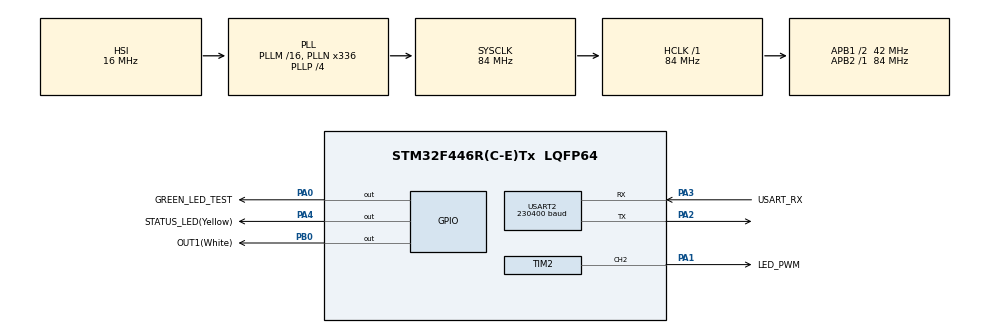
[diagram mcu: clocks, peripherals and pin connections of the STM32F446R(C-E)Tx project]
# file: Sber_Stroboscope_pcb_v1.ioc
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Mcu.Family=STM32F4
Mcu.Name=STM32F446R(C-E)Tx
Mcu.Package=LQFP64
NVIC.PriorityGroup=NVIC_PRIORITYGROUP_0
NVIC.USART2_IRQn=true\:0\:0\:false\:false\:true\:true\:true\:true
PA0-WKUP.GPIO_Label=GREEN_LED_TEST
PA0-WKUP.Signal=GPIO_Output
PA1.GPIO_Label=LED_PWM
PA1.Signal=S_TIM2_CH2
PA13.Mode=Serial_Wire
PA13.Signal=SYS_JTMS-SWDIO
PA14.Mode=Serial_Wire
PA14.Signal=SYS_JTCK-SWCLK
PA2.Mode=Asynchronous
PA2.Signal=USART2_TX
PA3.GPIO_Label=USART_RX
PA3.Mode=Asynchronous
PA3.Signal=USART2_RX
PA4.GPIO_Label=STATUS_LED(Yellow)
PA4.Signal=GPIO_Output
PB0.GPIO_Label=OUT1(White)
PB0.Signal=GPIO_Output
PC14-OSC32_IN.Mode=LSE-External-Oscillator
PC14-OSC32_IN.Signal=RCC_OSC32_IN
PC15-OSC32_OUT.Mode=LSE-External-Oscillator
PC15-OSC32_OUT.Signal=RCC_OSC32_OUT
PH0-OSC_IN.Mode=HSE-External-Oscillator
PH0-OSC_IN.Signal=RCC_OSC_IN
PH1-OSC_OUT.Mode=HSE-External-Oscillator
PH1-OSC_OUT.Signal=RCC_OSC_OUT
ProjectManager.HeapSize=0x200
ProjectManager.StackSize=0x400
ProjectManager.TargetToolchain=STM32CubeIDE
RCC.48MHZClocksFreq_Value=84000000
RCC.AHBFreq_Value=84000000
RCC.APB1CLKDivider=RCC_HCLK_DIV2
RCC.APB1Freq_Value=42000000
RCC.APB1TimFreq_Value=84000000
RCC.APB2Freq_Value=84000000
RCC.APB2TimFreq_Value=84000000
RCC.CortexFreq_Value=84000000
RCC.FLatency-AdvancedSettings=FLASH_LATENCY_2
RCC.HCLKFreq_Value=84000000
RCC.HSE_VALUE=8000000
RCC.HSI_VALUE=16000000
RCC.PLLN=336
RCC.PLLP=RCC_PLLP_DIV4
RCC.SYSCLKFreq_VALUE=84000000
RCC.SYSCLKSource=RCC_SYSCLKSOURCE_PLLCLK
RCC.USBFreq_Value=168000000
RCC.VCOOutputFreq_Value=336000000
SH.S_TIM2_CH2.0=TIM2_CH2,PWM Generation2 CH2
TIM2.Channel-PWM\ Generation2\ CH2=TIM_CHANNEL_2
TIM2.OCFastMode_PWM-PWM\ Generation2\ CH2=TIM_OCFAST_ENABLE
TIM2.Period=10
TIM2.Prescaler=8400
TIM2.Pulse-PWM\ Generation2\ CH2=1
USART2.BaudRate=230400
USART2.VirtualMode=VM_ASYNC
VP_TIM2_VS_ClockSourceINT.Mode=Internal
board=NUCLEO-F446RE

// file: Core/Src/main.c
/* USER CODE BEGIN Header */
/**
  ******************************************************************************
  * @file           : main.c
  * @brief          : Main program body
  ******************************************************************************
  * @attention
  *
  * Copyright (c) 2024 STMicroelectronics.
  * All rights reserved.
  *
  * This software is licensed under terms that can be found in the LICENSE file
  * in the root directory of this software component.
  * If no LICENSE file comes with this software, it is provided AS-IS.
  *
  ******************************************************************************
  */
/* USER CODE END Header */
#include "main.h"

/* USER CODE BEGIN Includes */

#include "io_interface.h"
#include "strob.h"

/* USER CODE END Includes */

TIM_HandleTypeDef htim2;

UART_HandleTypeDef huart2;

/* USER CODE BEGIN PV */

double pulse=100000/2;
double period=100000;

/* USER CODE END PV */

void SystemClock_Config(void);
static void MX_GPIO_Init(void);
static void MX_USART2_UART_Init(void);
static void MX_TIM2_Init(void);

int main(void)
{

  /* MCU Configuration--------------------------------------------------------*/

  /* Reset of all peripherals, Initializes the Flash interface and the Systick. */
  HAL_Init();

  /* Configure the system clock */
  SystemClock_Config();

  /* Initialize all configured peripherals */
  MX_GPIO_Init();
  MX_USART2_UART_Init();
  MX_TIM2_Init();
  /* USER CODE BEGIN 2 */

  time_init();
  //GREEN_LED_TEST_ON
  //STATUS_LED_YELLOW_ON
  //OUT_WHITE_ON

    uint8_t txData[20]={0};
    uint8_t vout=0;
    //uint16_t freq=0;
    uint8_t rxData[20]={0};

    while(1){
  	  //char command[50]={0};
  	  printf("------------------------------------\n");
  	  printf("Enter your command\n\n");
  	  printf("/out24V_on/ to on 24V Out\n");
  	  printf("/out24V_off/ to off 24V Out\n");
  	  printf("/frequency/ to change frequency\n");
  	  printf("/pulse/ to change duty cycle\n");
  	  printf("/status/ to get status\n");
  	  printf("/exit/ to cancel program\n");
  	  printf("------------------------------------\n\n");
  	  UART_Receive(rxData, sizeof(rxData));

  	  if(rxData[0]=='e' && rxData[1]=='x' && rxData[2]=='i' && rxData[3]=='t'){
  		  clear_rxData(rxData);
  		  break;
  	  }

  	  else if(rxData[0]=='o' && rxData[1]=='u' && rxData[2]=='t' && rxData[3]=='2' && rxData[4]=='4' && rxData[5]=='V' && rxData[6]=='_' && rxData[7]=='o' && rxData[8]=='n'){
  		  clear_rxData(rxData);
  		  out24V_on();
  		  vout=1;
  	  }

  	  else if(rxData[0]=='o' && rxData[1]=='u' && rxData[2]=='t' && rxData[3]=='2' && rxData[4]=='4' && rxData[5]=='V' && rxData[6]=='_' && rxData[7]=='o' && rxData[8]=='f' && rxData[9]=='f'){
  		  clear_rxData(rxData);
  		  out24V_off();
  		  vout=0;
  	  }

  	  else if(rxData[0]=='f' && rxData[1]=='r' && rxData[2]=='e' && rxData[3]=='q' && rxData[4]=='u' && rxData[5]=='e' && rxData[6]=='n' && rxData[7]=='c' && rxData[8]=='y'){
  		set_freq(&period, &pulse);
  		//pulse=period/2;
  		MX_TIM2_Init();
  	  }

  	  else if(rxData[0]=='p' && rxData[1]=='u' && rxData[2]=='l' && rxData[3]=='s' && rxData[4]=='e'){
  		set_duty_cycle(&pulse, &period);
  		//pulse=period/2;
  		MX_TIM2_Init();
  	  }

  	  else if(rxData[0]=='s' && rxData[1]=='t' && rxData[2]=='a' && rxData[3]=='t' && rxData[4]=='u' && rxData[5]=='s'){
  		status(&pulse, &period, &vout);
  	  }

  	  else{
  		  clear_rxData(rxData);
  		  printf("Wrong command\n");
  	  }

  	  printf("\n");
    }

  /* USER CODE END 2 */

  /* Infinite loop */
  while (1)
  {

  }
}

void SystemClock_Config(void)
{
  RCC_OscInitTypeDef RCC_OscInitStruct = {0};
  RCC_ClkInitTypeDef RCC_ClkInitStruct = {0};

  /** Configure the main internal regulator output voltage
  */
  __HAL_RCC_PWR_CLK_ENABLE();
  __HAL_PWR_VOLTAGESCALING_CONFIG(PWR_REGULATOR_VOLTAGE_SCALE3);

  /** Initializes the RCC Oscillators according to the specified parameters
  * in the RCC_OscInitTypeDef structure.
  */
  RCC_OscInitStruct.OscillatorType = RCC_OSCILLATORTYPE_HSI;
  RCC_OscInitStruct.HSIState = RCC_HSI_ON;
  RCC_OscInitStruct.HSICalibrationValue = RCC_HSICALIBRATION_DEFAULT;
  RCC_OscInitStruct.PLL.PLLState = RCC_PLL_ON;
  RCC_OscInitStruct.PLL.PLLSource = RCC_PLLSOURCE_HSI;
  RCC_OscInitStruct.PLL.PLLM = 16;
  RCC_OscInitStruct.PLL.PLLN = 336;
  RCC_OscInitStruct.PLL.PLLP = RCC_PLLP_DIV4;
  RCC_OscInitStruct.PLL.PLLQ = 2;
  RCC_OscInitStruct.PLL.PLLR = 2;
  if (HAL_RCC_OscConfig(&RCC_OscInitStruct) != HAL_OK)
  {
    Error_Handler();
  }

  /** Initializes the CPU, AHB and APB buses clocks
  */
  RCC_ClkInitStruct.ClockType = RCC_CLOCKTYPE_HCLK|RCC_CLOCKTYPE_SYSCLK
                              |RCC_CLOCKTYPE_PCLK1|RCC_CLOCKTYPE_PCLK2;
  RCC_ClkInitStruct.SYSCLKSource = RCC_SYSCLKSOURCE_PLLCLK;
  RCC_ClkInitStruct.AHBCLKDivider = RCC_SYSCLK_DIV1;
  RCC_ClkInitStruct.APB1CLKDivider = RCC_HCLK_DIV2;
  RCC_ClkInitStruct.APB2CLKDivider = RCC_HCLK_DIV1;

  if (HAL_RCC_ClockConfig(&RCC_ClkInitStruct, FLASH_LATENCY_2) != HAL_OK)
  {
    Error_Handler();
  }
}

static void MX_TIM2_Init(void)
{

  TIM_ClockConfigTypeDef sClockSourceConfig = {0};
  TIM_MasterConfigTypeDef sMasterConfig = {0};
  TIM_OC_InitTypeDef sConfigOC = {0};

  /* USER CODE BEGIN TIM2_Init 1 */

  //1 Hz = 10000 // 10Hz = 1000  // 100Hz = 100 // 1KHz = 10

  /* USER CODE END TIM2_Init 1 */
  htim2.Instance = TIM2;
  htim2.Init.Prescaler = 840;
  htim2.Init.CounterMode = TIM_COUNTERMODE_UP;
  htim2.Init.Period = (uint32_t)period;
  htim2.Init.ClockDivision = TIM_CLOCKDIVISION_DIV1;
  htim2.Init.AutoReloadPreload = TIM_AUTORELOAD_PRELOAD_DISABLE;
  if (HAL_TIM_Base_Init(&htim2) != HAL_OK)
  {
    Error_Handler();
  }
  sClockSourceConfig.ClockSource = TIM_CLOCKSOURCE_INTERNAL;
  if (HAL_TIM_ConfigClockSource(&htim2, &sClockSourceConfig) != HAL_OK)
  {
    Error_Handler();
  }
  if (HAL_TIM_PWM_Init(&htim2) != HAL_OK)
  {
    Error_Handler();
  }
  sMasterConfig.MasterOutputTrigger = TIM_TRGO_RESET;
  sMasterConfig.MasterSlaveMode = TIM_MASTERSLAVEMODE_DISABLE;
  if (HAL_TIMEx_MasterConfigSynchronization(&htim2, &sMasterConfig) != HAL_OK)
  {
    Error_Handler();
  }
  sConfigOC.OCMode = TIM_OCMODE_PWM1;
  sConfigOC.Pulse = (uint32_t)pulse;
  sConfigOC.OCPolarity = TIM_OCPOLARITY_HIGH;
  sConfigOC.OCFastMode = TIM_OCFAST_ENABLE;
  if (HAL_TIM_PWM_ConfigChannel(&htim2, &sConfigOC, TIM_CHANNEL_2) != HAL_OK)
  {
    Error_Handler();
  }
  HAL_TIM_MspPostInit(&htim2);

}

static void MX_USART2_UART_Init(void)
{

  huart2.Instance = USART2;
  huart2.Init.BaudRate = 230400;
  huart2.Init.WordLength = UART_WORDLENGTH_8B;
  huart2.Init.StopBits = UART_STOPBITS_1;
  huart2.Init.Parity = UART_PARITY_NONE;
  huart2.Init.Mode = UART_MODE_TX_RX;
  huart2.Init.HwFlowCtl = UART_HWCONTROL_NONE;
  huart2.Init.OverSampling = UART_OVERSAMPLING_16;
  if (HAL_UART_Init(&huart2) != HAL_OK)
  {
    Error_Handler();
  }

}

static void MX_GPIO_Init(void)
{
  GPIO_InitTypeDef GPIO_InitStruct = {0};

  /* GPIO Ports Clock Enable */
  __HAL_RCC_GPIOC_CLK_ENABLE();
  __HAL_RCC_GPIOH_CLK_ENABLE();
  __HAL_RCC_GPIOA_CLK_ENABLE();
  __HAL_RCC_GPIOB_CLK_ENABLE();

  /*Configure GPIO pin Output Level */
  HAL_GPIO_WritePin(GPIOA, GREEN_LED_TEST_Pin|STATUS_LED_Pin, GPIO_PIN_RESET);

  /*Configure GPIO pin Output Level */
  HAL_GPIO_WritePin(OUT1_GPIO_Port, OUT1_Pin, GPIO_PIN_RESET);

  /*Configure GPIO pins : GREEN_LED_TEST_Pin STATUS_LED_Pin */
  GPIO_InitStruct.Pin = GREEN_LED_TEST_Pin|STATUS_LED_Pin;
  GPIO_InitStruct.Mode = GPIO_MODE_OUTPUT_PP;
  GPIO_InitStruct.Pull = GPIO_NOPULL;
  GPIO_InitStruct.Speed = GPIO_SPEED_FREQ_LOW;
  HAL_GPIO_Init(GPIOA, &GPIO_InitStruct);

  /*Configure GPIO pin : OUT1_Pin */
  GPIO_InitStruct.Pin = OUT1_Pin;
  GPIO_InitStruct.Mode = GPIO_MODE_OUTPUT_PP;
  GPIO_InitStruct.Pull = GPIO_NOPULL;
  GPIO_InitStruct.Speed = GPIO_SPEED_FREQ_LOW;
  HAL_GPIO_Init(OUT1_GPIO_Port, &GPIO_InitStruct);

}

/* USER CODE BEGIN 4 */

void HAL_TIM_PeriodElapsedCallback(TIM_HandleTypeDef *htim) {
    if (htim->Instance == TIM2) {
    	//monitor_temperature_SHT();
    	//HAL_GPIO_TogglePin(GPIOA, GPIO_PIN_1);
    }
}

/* USER CODE END 4 */

void Error_Handler(void)
{
  __disable_irq();
  while (1)
  {
  }
}
